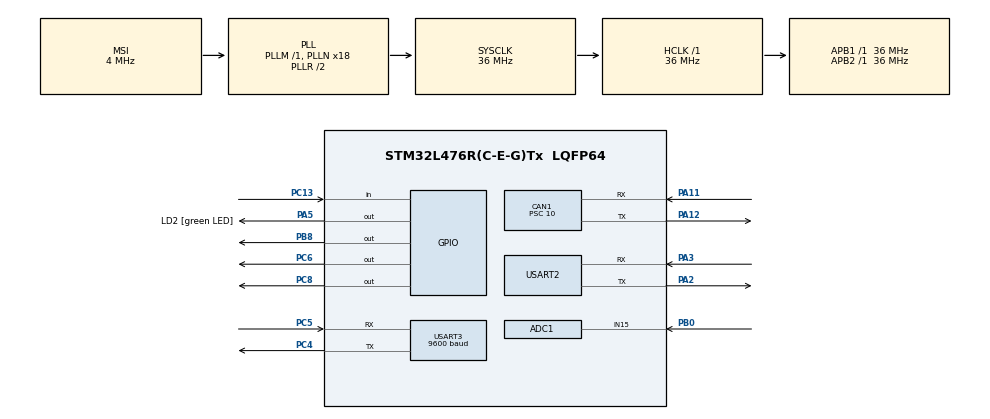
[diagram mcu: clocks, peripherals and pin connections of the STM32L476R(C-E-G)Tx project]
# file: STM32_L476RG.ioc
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ADC1.Channel-1\#ChannelRegularConversion=ADC_CHANNEL_15
ADC1.ClockPrescaler=ADC_CLOCK_ASYNC_DIV4
ADC1.ContinuousConvMode=DISABLE
ADC1.EnableRegularConversion=ENABLE
ADC1.NbrOfConversionFlag=1
ADC1.OffsetNumber-1\#ChannelRegularConversion=ADC_OFFSET_NONE
ADC1.OversamplingMode=DISABLE
ADC1.Rank-1\#ChannelRegularConversion=1
ADC1.SamplingTime-1\#ChannelRegularConversion=ADC_SAMPLETIME_2CYCLES_5
ADC1.master=1
CAN1.BS1=CAN_BS1_13TQ
CAN1.BS2=CAN_BS2_2TQ
CAN1.CalculateTimeQuantum=277.77777777777777
CAN1.Prescaler=10
Dma.ADC1.0.Direction=DMA_PERIPH_TO_MEMORY
Dma.ADC1.0.Instance=DMA1_Channel1
Dma.ADC1.0.MemDataAlignment=DMA_MDATAALIGN_HALFWORD
Dma.ADC1.0.MemInc=DMA_MINC_ENABLE
Dma.ADC1.0.Mode=DMA_CIRCULAR
Dma.ADC1.0.PeriphDataAlignment=DMA_PDATAALIGN_HALFWORD
Dma.ADC1.0.PeriphInc=DMA_PINC_DISABLE
Dma.ADC1.0.Priority=DMA_PRIORITY_LOW
Dma.Request0=ADC1
Mcu.Family=STM32L4
Mcu.Name=STM32L476R(C-E-G)Tx
Mcu.Package=LQFP64
NVIC.ADC1_2_IRQn=true\:0\:0\:true\:false\:true\:true\:true
NVIC.CAN1_RX0_IRQn=true\:1\:0\:true\:false\:true\:true\:true
NVIC.CAN1_TX_IRQn=true\:1\:0\:true\:false\:true\:true\:true
NVIC.DMA1_Channel1_IRQn=true\:0\:0\:false\:false\:true\:false\:true
NVIC.FLASH_IRQn=true\:0\:0\:false\:false\:true\:true\:true
NVIC.FPU_IRQn=true\:0\:0\:false\:false\:true\:true\:false
NVIC.PriorityGroup=NVIC_PRIORITYGROUP_4
NVIC.USART2_IRQn=true\:2\:0\:true\:false\:true\:true\:true
NVIC.USART3_IRQn=true\:2\:0\:true\:false\:true\:true\:true
PA11.Mode=Master
PA11.Signal=CAN1_RX
PA12.Mode=Master
PA12.Signal=CAN1_TX
PA2.Mode=Asynchronous
PA2.Signal=USART2_TX
PA3.Mode=Asynchronous
PA3.Signal=USART2_RX
PA5.GPIO_Label=LD2 [green LED]
PA5.GPIO_Speed=GPIO_SPEED_FREQ_VERY_HIGH
PA5.Signal=GPIO_Output
PB0.Signal=ADCx_IN15
PB8.GPIO_Speed=GPIO_SPEED_FREQ_VERY_HIGH
PB8.PinState=GPIO_PIN_SET
PB8.Signal=GPIO_Output
PC13.GPIO_PuPd=GPIO_PULLUP
PC13.Signal=GPIO_Input
PC4.Mode=Asynchronous
PC4.Signal=USART3_TX
PC5.Mode=Asynchronous
PC5.Signal=USART3_RX
PC6.GPIO_Speed=GPIO_SPEED_FREQ_VERY_HIGH
PC6.Signal=GPIO_Output
PC8.GPIO_Speed=GPIO_SPEED_FREQ_VERY_HIGH
PC8.Signal=GPIO_Output
ProjectManager.HeapSize=0x200
ProjectManager.StackSize=0x400
ProjectManager.TargetToolchain=MDK-ARM V5
RCC.ADCFreq_Value=32000000
RCC.AHBFreq_Value=36000000
RCC.APB1Freq_Value=36000000
RCC.APB1TimFreq_Value=36000000
RCC.APB2Freq_Value=36000000
RCC.APB2TimFreq_Value=36000000
RCC.CortexFreq_Value=36000000
RCC.HCLKFreq_Value=36000000
RCC.HSE_VALUE=8000000
RCC.HSI_VALUE=16000000
RCC.LSE_VALUE=32768
RCC.MSI_VALUE=4000000
RCC.PLLN=18
RCC.PLLSAI1N=16
RCC.SYSCLKFreq_VALUE=36000000
RCC.SYSCLKSource=RCC_SYSCLKSOURCE_PLLCLK
RCC.USBFreq_Value=32000000
RCC.VCOOutputFreq_Value=72000000
SH.ADCx_IN15.0=ADC1_IN15,IN15-Single-Ended
USART2.VirtualMode-Asynchronous=VM_ASYNC
USART3.BaudRate=9600
USART3.VirtualMode-Asynchronous=VM_ASYNC
board=custom

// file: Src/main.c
/**
  ******************************************************************************
  * @file           : main.c
  * @brief          : Main program body
  ******************************************************************************
  ** This notice applies to any and all portions of this file
  * that are not between comment pairs USER CODE BEGIN and
  * USER CODE END. Other portions of this file, whether
  * inserted by the user or by software development tools
  * are owned by their respective copyright owners.
  *
  * COPYRIGHT(c) 2021 STMicroelectronics
  *
  * Redistribution and use in source and binary forms, with or without modification,
  * are permitted provided that the following conditions are met:
  *   1. Redistributions of source code must retain the above copyright notice,
  *      this list of conditions and the following disclaimer.
  *   2. Redistributions in binary form must reproduce the above copyright notice,
  *      this list of conditions and the following disclaimer in the documentation
  *      and/or other materials provided with the distribution.
  *   3. Neither the name of STMicroelectronics nor the names of its contributors
  *      may be used to endorse or promote products derived from this software
  *      without specific prior written permission.
  *
  * THIS SOFTWARE IS PROVIDED BY THE COPYRIGHT HOLDERS AND CONTRIBUTORS "AS IS"
  * AND ANY EXPRESS OR IMPLIED WARRANTIES, INCLUDING, BUT NOT LIMITED TO, THE
  * IMPLIED WARRANTIES OF MERCHANTABILITY AND FITNESS FOR A PARTICULAR PURPOSE ARE
  * DISCLAIMED. IN NO EVENT SHALL THE COPYRIGHT HOLDER OR CONTRIBUTORS BE LIABLE
  * FOR ANY DIRECT, INDIRECT, INCIDENTAL, SPECIAL, EXEMPLARY, OR CONSEQUENTIAL
  * DAMAGES (INCLUDING, BUT NOT LIMITED TO, PROCUREMENT OF SUBSTITUTE GOODS OR
  * SERVICES; LOSS OF USE, DATA, OR PROFITS; OR BUSINESS INTERRUPTION) HOWEVER
  * CAUSED AND ON ANY THEORY OF LIABILITY, WHETHER IN CONTRACT, STRICT LIABILITY,
  * OR TORT (INCLUDING NEGLIGENCE OR OTHERWISE) ARISING IN ANY WAY OUT OF THE USE
  * OF THIS SOFTWARE, EVEN IF ADVISED OF THE POSSIBILITY OF SUCH DAMAGE.
  *
  ******************************************************************************
  */
#include "main.h"
#include "stm32l4xx_hal.h"

/* USER CODE BEGIN Includes */
#include "stdio.h"
#include "stdlib.h"
#include "KEYPAD.h"
/* USER CODE END Includes */

ADC_HandleTypeDef hadc1;
DMA_HandleTypeDef hdma_adc1;

CAN_HandleTypeDef hcan1;

UART_HandleTypeDef huart2;
UART_HandleTypeDef huart3;

/* USER CODE BEGIN PV */
/* Private variables ---------------------------------------------------------*/
CAN_TxHeaderTypeDef		TxHeader;
CAN_RxHeaderTypeDef 	RxHeader;

uint8_t								TxData[8];
uint8_t								RxData[8];
uint16_t ID;
uint32_t							TxMailbox;
			uint16_t value[2]=0;
			unsigned char temp=0;
			char str[50];
			char str1[50];
			char str2[50];
/* USER CODE END PV */

void SystemClock_Config(void);
static void MX_GPIO_Init(void);
static void MX_DMA_Init(void);
static void MX_CAN1_Init(void);
static void MX_ADC1_Init(void);
static void MX_USART2_UART_Init(void);
static void MX_USART3_UART_Init(void);

/* USER CODE BEGIN PFP */
/* Private function prototypes -----------------------------------------------*/
static void MX_CAN1_UserInit(void);
/* USER CODE END PFP */

/* USER CODE BEGIN 0 */
void CanWriteData(uint16_t ID);

//void HAL_ADC_ConvCpltCallback(ADC_HandleTypeDef* hadc)
//	{
//			if(hadc->Instance==ADC1)
//				{
//						value=HAL_ADC_GetValue(hadc);
//				}
//	}

#ifdef __GNUC__
 /* With GCC/RAISONANCE, small printf (option LD Linker->Libraries->Small printf
 set to 'Yes') calls __io_putchar() */
 #define PUTCHAR_PROTOTYPE int __io_putchar(int ch)
#else
 #define PUTCHAR_PROTOTYPE int fputc(int ch, FILE *f)
#endif /* __GNUC__ */

/**
 * @brief Retargets the C library printf function to the USART.
 * @param None
 * @retval None
 */
PUTCHAR_PROTOTYPE
{
 /* Place your implementation of fputc here */
 /* e.g. write a character to the USART */
 HAL_UART_Transmit(&huart3, (uint8_t *)&ch, 1, 100);

 return ch;
}

/* USER CODE END 0 */

int main(void)
{

  /* MCU Configuration----------------------------------------------------------*/

  /* Reset of all peripherals, Initializes the Flash interface and the Systick. */
  HAL_Init();

  /* Configure the system clock */
  SystemClock_Config();

  /* USER CODE BEGIN SysInit */
 KeypadInit();
  /* USER CODE END SysInit */

  /* Initialize all configured peripherals */
  MX_GPIO_Init();
  MX_DMA_Init();
  MX_CAN1_Init();
  MX_ADC1_Init();
  MX_USART2_UART_Init();
  MX_USART3_UART_Init();
  /* USER CODE BEGIN 2 */
	MX_CAN1_UserInit();

	// CAN start
	if (HAL_CAN_Start(&hcan1) != HAL_OK)
	{
		/* Start Error */
		Error_Handler();
		//HAL_GPIO_WritePin(LD2_GPIO_Port, LD2_Pin, GPIO_PIN_RESET);
	} //else {
		//HAL_GPIO_WritePin(LD2_GPIO_Port, LD2_Pin, GPIO_PIN_SET);
	//}

	// CAN notifications (interrupts)
	if (HAL_CAN_ActivateNotification(&hcan1, CAN_IT_RX_FIFO0_MSG_PENDING | CAN_IT_TX_MAILBOX_EMPTY) != HAL_OK)
	{
		/* Notification Error */
		Error_Handler();
		//HAL_GPIO_WritePin(LD2_GPIO_Port, LD2_Pin, GPIO_PIN_RESET);
	} //else {
			//HAL_GPIO_WritePin(LD2_GPIO_Port, LD2_Pin, GPIO_PIN_SET);
	//}

//	/* Configure Transmission process */
//	TxHeader.StdId = 0x10;				// CAN message address
//	TxHeader.ExtId = 0x00;			 	// Only used if (TxHeader.IDE == CAN_ID_EXT)
//	TxHeader.RTR = CAN_RTR_DATA;	// Data request, not remote request
//	TxHeader.IDE = CAN_ID_STD;		// Standard CAN, not Extended
//	TxHeader.DLC = 8;							// Data size in bytes
//	TxHeader.TransmitGlobalTime = DISABLE;
//	TxData[0] = 1;
//	TxData[1] = 2;
//	TxData[2] = 3;
//	TxData[3] = 4;
//	TxData[4] = 5;
//	TxData[5] = 6;
//	TxData[6] = 7;
//	TxData[7] = 8;
  /* USER CODE END 2 */

  /* Infinite loop */
  /* USER CODE BEGIN WHILE */
	HAL_CAN_Start(&hcan1);
  HAL_CAN_ActivateNotification(&hcan1,CAN_IT_RX_FIFO0_MSG_PENDING);
	uint16_t x=0;
	//HAL_ADC_Start_IT(&hadc1);
  while (1)
  {

  /* USER CODE END WHILE */

  /* USER CODE BEGIN 3 */

//
//HAL_ADC_Start_IT(&hadc1);
//		if(value>3200)
//			{
//				CanWriteData(0x476);
//			}
	HAL_ADC_Start_DMA(&hadc1, (uint32_t*)value, 1);
		HAL_Delay(10);
	HAL_ADC_Stop_DMA(&hadc1);
			if(value[0]>1200)
			{
				CanWriteData(0x476);
			}

	x=QuetPhim();
		if(x!=0)
		{

			CanWriteData(x);
			HAL_Delay(100);
		}
		while(temp==1)
			{

//			sprintf(str, "AT+CMGS=\"0325551005\"\r\n");
//			HAL_UART_Transmit(&huart3, (uint8_t*)str, sizeof(str), 100);
//
//			HAL_Delay(200);
//			sprintf(str1, "Phat hien khi GAS tai nucleo446");
//			HAL_UART_Transmit(&huart3, (uint8_t*)str1, sizeof(str1), 100);
//			putchar(26);
//			sprintf(str2, "\r\n");
//			HAL_UART_Transmit(&huart3, (uint8_t*)str2, sizeof(str2), 100);

													printf("AT+CMGS=\"0325551005\"\r\n");
													HAL_Delay(200);
													printf("Phat hien khi GAS tai nucleo446");
													putchar(26);
													printf("\r\n");
				temp=0;
				HAL_Delay(1000);
			}
			while(temp==2)
			{

													printf("AT+CMGS=\"0325551005\"\r\n");
													HAL_Delay(200);
													printf("Phat hien khi GAS tai nucleo476");
													putchar(26);
													printf("\r\n");
				temp=0;
				HAL_Delay(1000);
				sprintf(str, "ATD0325551005;\r\n");
				HAL_UART_Transmit(&huart3, (uint8_t*)str, sizeof(str), 100);
			}

		if(HAL_GPIO_ReadPin(GPIOC, GPIO_PIN_13)==0)
			{
				HAL_Delay(200);
				HAL_GPIO_TogglePin(GPIOA, GPIO_PIN_5);

//			sprintf(str, "AT+CMGS=\"0325551005\"\r\n");
//			HAL_UART_Transmit(&huart3, (uint8_t*)str, sizeof(str), 100);
//
//			HAL_Delay(200);
//			sprintf(str1, "Phat hien khi GAS tai nucleo446");
//			HAL_UART_Transmit(&huart3, (uint8_t*)str1, sizeof(str1), 100);
//			putchar(26);
//			sprintf(str2, "\r\n");
//			HAL_UART_Transmit(&huart3, (uint8_t*)str2, sizeof(str2), 100);

				//HAL_UART_Transmit(&huart3, (uint8_t*)str2, sizeof(str2), 1000);

//													printf("AT+CMGS=\"0325551005\"\r\n");
//													HAL_Delay(200);
//													printf("Phat hien khiGAS tai nucleo446");

//														putchar(26);
//														printf("\r\n");

//printf("ATD0325551005;\r\n");
			}

//		HAL_CAN_AddTxMessage(&hcan1, &TxHeader, TxData, &TxMailbox);
//		HAL_Delay(1000);
//		TxData[7] = TxData[7] + 1;

//		if(HAL_CAN_AddTxMessage(&hcan1, &TxHeader, TxData, &TxMailbox) != HAL_OK) {
//			Error_Handler();
//			//HAL_GPIO_WritePin(LD2_GPIO_Port, LD2_Pin, GPIO_PIN_SET);
//		} else {
//			HAL_Delay(10);
//			TxData[7] = TxData[7] + 1;
//			//HAL_GPIO_WritePin(LD2_GPIO_Port, LD2_Pin, GPIO_PIN_RESET);
//		}
//
//		// Check if a transmission request is pending on the selected Tx Mailboxes.
//		if(HAL_CAN_IsTxMessagePending(&hcan1, TxMailbox)) {
//			HAL_GPIO_WritePin(LD2_GPIO_Port, LD2_Pin, GPIO_PIN_SET);
//		} else {
//			HAL_GPIO_WritePin(LD2_GPIO_Port, LD2_Pin, GPIO_PIN_RESET);
//		}
  }
  /* USER CODE END 3 */

}

void SystemClock_Config(void)
{

  RCC_OscInitTypeDef RCC_OscInitStruct;
  RCC_ClkInitTypeDef RCC_ClkInitStruct;
  RCC_PeriphCLKInitTypeDef PeriphClkInit;

    /**Initializes the CPU, AHB and APB busses clocks
    */
  RCC_OscInitStruct.OscillatorType = RCC_OSCILLATORTYPE_MSI;
  RCC_OscInitStruct.MSIState = RCC_MSI_ON;
  RCC_OscInitStruct.MSICalibrationValue = 0;
  RCC_OscInitStruct.MSIClockRange = RCC_MSIRANGE_6;
  RCC_OscInitStruct.PLL.PLLState = RCC_PLL_ON;
  RCC_OscInitStruct.PLL.PLLSource = RCC_PLLSOURCE_MSI;
  RCC_OscInitStruct.PLL.PLLM = 1;
  RCC_OscInitStruct.PLL.PLLN = 18;
  RCC_OscInitStruct.PLL.PLLP = RCC_PLLP_DIV7;
  RCC_OscInitStruct.PLL.PLLQ = RCC_PLLQ_DIV2;
  RCC_OscInitStruct.PLL.PLLR = RCC_PLLR_DIV2;
  if (HAL_RCC_OscConfig(&RCC_OscInitStruct) != HAL_OK)
  {
    _Error_Handler(__FILE__, __LINE__);
  }

    /**Initializes the CPU, AHB and APB busses clocks
    */
  RCC_ClkInitStruct.ClockType = RCC_CLOCKTYPE_HCLK|RCC_CLOCKTYPE_SYSCLK
                              |RCC_CLOCKTYPE_PCLK1|RCC_CLOCKTYPE_PCLK2;
  RCC_ClkInitStruct.SYSCLKSource = RCC_SYSCLKSOURCE_PLLCLK;
  RCC_ClkInitStruct.AHBCLKDivider = RCC_SYSCLK_DIV1;
  RCC_ClkInitStruct.APB1CLKDivider = RCC_HCLK_DIV1;
  RCC_ClkInitStruct.APB2CLKDivider = RCC_HCLK_DIV1;

  if (HAL_RCC_ClockConfig(&RCC_ClkInitStruct, FLASH_LATENCY_2) != HAL_OK)
  {
    _Error_Handler(__FILE__, __LINE__);
  }

  PeriphClkInit.PeriphClockSelection = RCC_PERIPHCLK_USART2|RCC_PERIPHCLK_USART3
                              |RCC_PERIPHCLK_ADC;
  PeriphClkInit.Usart2ClockSelection = RCC_USART2CLKSOURCE_PCLK1;
  PeriphClkInit.Usart3ClockSelection = RCC_USART3CLKSOURCE_PCLK1;
  PeriphClkInit.AdcClockSelection = RCC_ADCCLKSOURCE_PLLSAI1;
  PeriphClkInit.PLLSAI1.PLLSAI1Source = RCC_PLLSOURCE_MSI;
  PeriphClkInit.PLLSAI1.PLLSAI1M = 1;
  PeriphClkInit.PLLSAI1.PLLSAI1N = 16;
  PeriphClkInit.PLLSAI1.PLLSAI1P = RCC_PLLP_DIV7;
  PeriphClkInit.PLLSAI1.PLLSAI1Q = RCC_PLLQ_DIV2;
  PeriphClkInit.PLLSAI1.PLLSAI1R = RCC_PLLR_DIV2;
  PeriphClkInit.PLLSAI1.PLLSAI1ClockOut = RCC_PLLSAI1_ADC1CLK;
  if (HAL_RCCEx_PeriphCLKConfig(&PeriphClkInit) != HAL_OK)
  {
    _Error_Handler(__FILE__, __LINE__);
  }

    /**Configure the main internal regulator output voltage
    */
  if (HAL_PWREx_ControlVoltageScaling(PWR_REGULATOR_VOLTAGE_SCALE1) != HAL_OK)
  {
    _Error_Handler(__FILE__, __LINE__);
  }

    /**Configure the Systick interrupt time
    */
  HAL_SYSTICK_Config(HAL_RCC_GetHCLKFreq()/1000);

    /**Configure the Systick
    */
  HAL_SYSTICK_CLKSourceConfig(SYSTICK_CLKSOURCE_HCLK);

  /* SysTick_IRQn interrupt configuration */
  HAL_NVIC_SetPriority(SysTick_IRQn, 0, 0);
}

/* ADC1 init function */
static void MX_ADC1_Init(void)
{

  ADC_MultiModeTypeDef multimode;
  ADC_ChannelConfTypeDef sConfig;

    /**Common config
    */
  hadc1.Instance = ADC1;
  hadc1.Init.ClockPrescaler = ADC_CLOCK_ASYNC_DIV4;
  hadc1.Init.Resolution = ADC_RESOLUTION_12B;
  hadc1.Init.DataAlign = ADC_DATAALIGN_RIGHT;
  hadc1.Init.ScanConvMode = ADC_SCAN_DISABLE;
  hadc1.Init.EOCSelection = ADC_EOC_SINGLE_CONV;
  hadc1.Init.LowPowerAutoWait = DISABLE;
  hadc1.Init.ContinuousConvMode = DISABLE;
  hadc1.Init.NbrOfConversion = 1;
  hadc1.Init.DiscontinuousConvMode = DISABLE;
  hadc1.Init.NbrOfDiscConversion = 1;
  hadc1.Init.ExternalTrigConv = ADC_SOFTWARE_START;
  hadc1.Init.ExternalTrigConvEdge = ADC_EXTERNALTRIGCONVEDGE_NONE;
  hadc1.Init.DMAContinuousRequests = DISABLE;
  hadc1.Init.Overrun = ADC_OVR_DATA_PRESERVED;
  hadc1.Init.OversamplingMode = DISABLE;
  if (HAL_ADC_Init(&hadc1) != HAL_OK)
  {
    _Error_Handler(__FILE__, __LINE__);
  }

    /**Configure the ADC multi-mode
    */
  multimode.Mode = ADC_MODE_INDEPENDENT;
  if (HAL_ADCEx_MultiModeConfigChannel(&hadc1, &multimode) != HAL_OK)
  {
    _Error_Handler(__FILE__, __LINE__);
  }

    /**Configure Regular Channel
    */
  sConfig.Channel = ADC_CHANNEL_15;
  sConfig.Rank = ADC_REGULAR_RANK_1;
  sConfig.SamplingTime = ADC_SAMPLETIME_2CYCLES_5;
  sConfig.SingleDiff = ADC_SINGLE_ENDED;
  sConfig.OffsetNumber = ADC_OFFSET_NONE;
  sConfig.Offset = 0;
  if (HAL_ADC_ConfigChannel(&hadc1, &sConfig) != HAL_OK)
  {
    _Error_Handler(__FILE__, __LINE__);
  }

}

/* CAN1 init function */
static void MX_CAN1_Init(void)
{

  hcan1.Instance = CAN1;
  hcan1.Init.Prescaler = 10;
  hcan1.Init.Mode = CAN_MODE_NORMAL;
  hcan1.Init.SyncJumpWidth = CAN_SJW_1TQ;
  hcan1.Init.TimeSeg1 = CAN_BS1_13TQ;
  hcan1.Init.TimeSeg2 = CAN_BS2_2TQ;
  hcan1.Init.TimeTriggeredMode = DISABLE;
  hcan1.Init.AutoBusOff = DISABLE;
  hcan1.Init.AutoWakeUp = DISABLE;
  hcan1.Init.AutoRetransmission = DISABLE;
  hcan1.Init.ReceiveFifoLocked = DISABLE;
  hcan1.Init.TransmitFifoPriority = DISABLE;
  if (HAL_CAN_Init(&hcan1) != HAL_OK)
  {
    _Error_Handler(__FILE__, __LINE__);
  }

}

/* USART2 init function */
static void MX_USART2_UART_Init(void)
{

  huart2.Instance = USART2;
  huart2.Init.BaudRate = 115200;
  huart2.Init.WordLength = UART_WORDLENGTH_8B;
  huart2.Init.StopBits = UART_STOPBITS_1;
  huart2.Init.Parity = UART_PARITY_NONE;
  huart2.Init.Mode = UART_MODE_TX_RX;
  huart2.Init.HwFlowCtl = UART_HWCONTROL_NONE;
  huart2.Init.OverSampling = UART_OVERSAMPLING_16;
  huart2.Init.OneBitSampling = UART_ONE_BIT_SAMPLE_DISABLE;
  huart2.AdvancedInit.AdvFeatureInit = UART_ADVFEATURE_NO_INIT;
  if (HAL_UART_Init(&huart2) != HAL_OK)
  {
    _Error_Handler(__FILE__, __LINE__);
  }

}

/* USART3 init function */
static void MX_USART3_UART_Init(void)
{

  huart3.Instance = USART3;
  huart3.Init.BaudRate = 9600;
  huart3.Init.WordLength = UART_WORDLENGTH_8B;
  huart3.Init.StopBits = UART_STOPBITS_1;
  huart3.Init.Parity = UART_PARITY_NONE;
  huart3.Init.Mode = UART_MODE_TX_RX;
  huart3.Init.HwFlowCtl = UART_HWCONTROL_NONE;
  huart3.Init.OverSampling = UART_OVERSAMPLING_16;
  huart3.Init.OneBitSampling = UART_ONE_BIT_SAMPLE_DISABLE;
  huart3.AdvancedInit.AdvFeatureInit = UART_ADVFEATURE_NO_INIT;
  if (HAL_UART_Init(&huart3) != HAL_OK)
  {
    _Error_Handler(__FILE__, __LINE__);
  }

}

static void MX_DMA_Init(void)
{
  /* DMA controller clock enable */
  __HAL_RCC_DMA1_CLK_ENABLE();

  /* DMA interrupt init */
  /* DMA1_Channel1_IRQn interrupt configuration */
  HAL_NVIC_SetPriority(DMA1_Channel1_IRQn, 0, 0);
  HAL_NVIC_EnableIRQ(DMA1_Channel1_IRQn);

}

/** Configure pins
*/
static void MX_GPIO_Init(void)
{

  GPIO_InitTypeDef GPIO_InitStruct;

  /* GPIO Ports Clock Enable */
  __HAL_RCC_GPIOC_CLK_ENABLE();
  __HAL_RCC_GPIOA_CLK_ENABLE();
  __HAL_RCC_GPIOB_CLK_ENABLE();

  /*Configure GPIO pin Output Level */
  HAL_GPIO_WritePin(LD2_GPIO_Port, LD2_Pin, GPIO_PIN_RESET);

  /*Configure GPIO pin Output Level */
  HAL_GPIO_WritePin(GPIOC, GPIO_PIN_6|GPIO_PIN_8, GPIO_PIN_RESET);

  /*Configure GPIO pin Output Level */
  HAL_GPIO_WritePin(GPIOB, GPIO_PIN_8, GPIO_PIN_SET);

  /*Configure GPIO pin : PC13 */
  GPIO_InitStruct.Pin = GPIO_PIN_13;
  GPIO_InitStruct.Mode = GPIO_MODE_INPUT;
  GPIO_InitStruct.Pull = GPIO_PULLUP;
  HAL_GPIO_Init(GPIOC, &GPIO_InitStruct);

  /*Configure GPIO pin : LD2_Pin */
  GPIO_InitStruct.Pin = LD2_Pin;
  GPIO_InitStruct.Mode = GPIO_MODE_OUTPUT_PP;
  GPIO_InitStruct.Pull = GPIO_NOPULL;
  GPIO_InitStruct.Speed = GPIO_SPEED_FREQ_VERY_HIGH;
  HAL_GPIO_Init(LD2_GPIO_Port, &GPIO_InitStruct);

  /*Configure GPIO pins : PC6 PC8 */
  GPIO_InitStruct.Pin = GPIO_PIN_6|GPIO_PIN_8;
  GPIO_InitStruct.Mode = GPIO_MODE_OUTPUT_PP;
  GPIO_InitStruct.Pull = GPIO_NOPULL;
  GPIO_InitStruct.Speed = GPIO_SPEED_FREQ_VERY_HIGH;
  HAL_GPIO_Init(GPIOC, &GPIO_InitStruct);

  /*Configure GPIO pin : PB8 */
  GPIO_InitStruct.Pin = GPIO_PIN_8;
  GPIO_InitStruct.Mode = GPIO_MODE_OUTPUT_PP;
  GPIO_InitStruct.Pull = GPIO_NOPULL;
  GPIO_InitStruct.Speed = GPIO_SPEED_FREQ_VERY_HIGH;
  HAL_GPIO_Init(GPIOB, &GPIO_InitStruct);

}

/* USER CODE BEGIN 4 */

void CanWriteData(uint16_t ID)
{
	int i=0;
	for(i=0 ; i<8 ; i++)
	{
		TxData[i]= rand()%0xff;
	}

  /* transmit */

	TxHeader.StdId = ID;				// CAN message address
	//TxHeader.ExtId = 0x00;			 	// Only used if (TxHeader.IDE == CAN_ID_EXT)
	TxHeader.RTR = CAN_RTR_DATA;	// Data request, not remote request
	TxHeader.IDE = CAN_ID_STD;		// Standard CAN, not Extended
	TxHeader.DLC = 8;							// Data size in bytes
	TxHeader.TransmitGlobalTime = DISABLE;

		HAL_CAN_AddTxMessage(&hcan1, &TxHeader, TxData, &TxMailbox);

		//TxData[7] = TxData[7] + 1;

}

static void MX_CAN1_UserInit(void)
{
	CAN_FilterTypeDef			sFilterConfig;

	// CAN filter structure items configuration
	sFilterConfig.FilterBank = 0;		// Use first filter bank
	sFilterConfig.FilterMode = CAN_FILTERMODE_IDMASK;		// Look for specific can messages
	sFilterConfig.FilterScale = CAN_FILTERSCALE_32BIT;
	sFilterConfig.FilterIdHigh = 0x00;		 	// Filter registers need to be shifted left 5 bits
	sFilterConfig.FilterIdLow = 0x0000;				// Filter registers need to be shifted left 5 bits
	sFilterConfig.FilterMaskIdHigh = 0x0000;	// Unused
	sFilterConfig.FilterMaskIdLow = 0x0000;		// Unused
	sFilterConfig.FilterFIFOAssignment = CAN_RX_FIFO0;
	sFilterConfig.FilterActivation = ENABLE;
	sFilterConfig.SlaveStartFilterBank = 0;		// Set all filter banks for CAN1

	// CAN filter configuration function call
	if (HAL_CAN_ConfigFilter(&hcan1, &sFilterConfig) != HAL_OK)
	{
		/* Filter Configuration Error */
		Error_Handler();
	}
}

// Transmission Mailbox 0 complete callback.
void HAL_CAN_TxMailbox0CompleteCallback(CAN_HandleTypeDef *hcan) {
	if(TxHeader.StdId==0x10)	//nut *
		{
			HAL_GPIO_WritePin(GPIOC, GPIO_PIN_6, 1);
			HAL_GPIO_WritePin(GPIOC, GPIO_PIN_8, 1);

		}
	if(TxHeader.StdId==0x11)	//nut#
		{
			HAL_GPIO_WritePin(GPIOC, GPIO_PIN_6, 0);
			HAL_GPIO_WritePin(GPIOC, GPIO_PIN_8, 0);

		}
	if(TxHeader.StdId==0x03)
				{
					HAL_GPIO_WritePin(GPIOC, GPIO_PIN_6, 1);

				}
	if(TxHeader.StdId==0x04)
				{
					HAL_GPIO_WritePin(GPIOC, GPIO_PIN_6, 0);

				}
	if(TxHeader.StdId==0x05)
		{
			HAL_GPIO_WritePin(GPIOC, GPIO_PIN_8, 1);

		}
	if(TxHeader.StdId==0x06)
		{
			HAL_GPIO_WritePin(GPIOC, GPIO_PIN_8, 0);

		}
//mq2 446
		if(TxHeader.StdId==0x50)
		{
			HAL_GPIO_WritePin(GPIOC, GPIO_PIN_6|GPIO_PIN_8, 1);
			HAL_GPIO_WritePin(GPIOB, GPIO_PIN_8, 0);
		}
//tat coi
		if(TxHeader.StdId==0x100)
		{
			HAL_GPIO_WritePin(GPIOC, GPIO_PIN_6|GPIO_PIN_8, 0);
			HAL_GPIO_WritePin(GPIOB, GPIO_PIN_8, 1);

		}
//mq2 476
		if(TxHeader.StdId==0x476)
		{
			HAL_GPIO_WritePin(GPIOC, GPIO_PIN_6|GPIO_PIN_8, 1);
			HAL_GPIO_WritePin(GPIOB, GPIO_PIN_8, 0);
			temp=2;
		}

}

// CAN Rx Callback
void HAL_CAN_RxFifo0MsgPendingCallback(CAN_HandleTypeDef *hcan) {
	HAL_CAN_GetRxMessage(&hcan1, CAN_RX_FIFO0, &RxHeader, RxData);

	if(RxHeader.StdId==0x10) //nut *
		{
			HAL_GPIO_WritePin(GPIOC, GPIO_PIN_6, 1);
			HAL_GPIO_WritePin(GPIOC, GPIO_PIN_8, 1);

		}
		if(RxHeader.StdId==0x11) //nut #
		{
			HAL_GPIO_WritePin(GPIOC, GPIO_PIN_6, 0);
			HAL_GPIO_WritePin(GPIOC, GPIO_PIN_8, 0);

		}
		if(RxHeader.StdId==0x01)
				{
					HAL_GPIO_WritePin(GPIOC, GPIO_PIN_6, 1);
					HAL_GPIO_WritePin(GPIOC, GPIO_PIN_8, 1);

				}
		if(RxHeader.StdId==0x02)
				{
					HAL_GPIO_WritePin(GPIOC, GPIO_PIN_6, 0);
					HAL_GPIO_WritePin(GPIOC, GPIO_PIN_8, 0);

				}
		if(RxHeader.StdId==0x03)
				{
					HAL_GPIO_WritePin(GPIOC, GPIO_PIN_6, 1);

				}
if(RxHeader.StdId==0x04)
		{
			HAL_GPIO_WritePin(GPIOC, GPIO_PIN_6, 0);

		}
if(RxHeader.StdId==0x05)
		{
			HAL_GPIO_WritePin(GPIOC, GPIO_PIN_8, 1);

		}
if(RxHeader.StdId==0x06)
		{
			HAL_GPIO_WritePin(GPIOC, GPIO_PIN_8, 0);

		}

	//IR
		if(RxHeader.StdId==0x00)
		{
			HAL_GPIO_TogglePin(GPIOC, GPIO_PIN_6|GPIO_PIN_8);

		}
//mq2 446
		if(RxHeader.StdId==0x50)
		{
			HAL_GPIO_WritePin(GPIOC, GPIO_PIN_6|GPIO_PIN_8, 1);
			HAL_GPIO_WritePin(GPIOB, GPIO_PIN_8, 0);
			temp=1;

		}
//tat coi
		if(RxHeader.StdId==0x100)
		{
			HAL_GPIO_WritePin(GPIOC, GPIO_PIN_6|GPIO_PIN_8, 0);
			HAL_GPIO_WritePin(GPIOB, GPIO_PIN_8, 1);
		}
//mq2 103
		if(RxHeader.StdId==0x51)
		{
			HAL_GPIO_WritePin(GPIOC, GPIO_PIN_6|GPIO_PIN_8, 1);
			HAL_GPIO_WritePin(GPIOB, GPIO_PIN_8, 0);
			}

}
/* USER CODE END 4 */

void _Error_Handler(char *file, int line)
{
  while(1)
  {
  }
}

/************************ (C) COPYRIGHT STMicroelectronics *****END OF FILE****/
